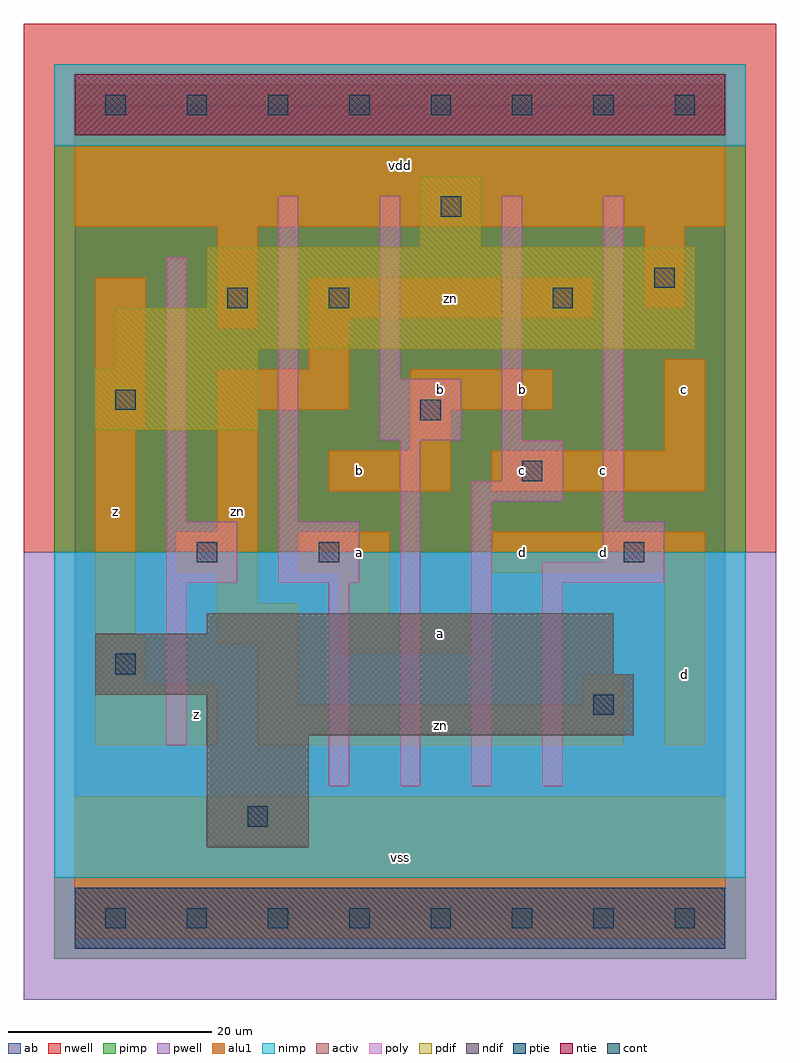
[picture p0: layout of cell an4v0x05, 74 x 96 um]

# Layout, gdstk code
import gdstk
lib = gdstk.Library(unit=1e-6, precision=1e-09)
def R(c, l, rs):  # rectangles x0, y0, x1, y1
    for r in rs: c.add(gdstk.rectangle(r[:2], r[2:], *l))
def A(c, l, x, y, w, h, nx, ny, dx, dy):  # array of equal rectangles
    R(c, l, [(x+i*dx, y+j*dy, x+i*dx+w, y+j*dy+h) for i in range(nx) for j in range(ny)])
ndif = (3, 0)
pdif = (4, 0)
ntie = (5, 0)
ptie = (6, 0)
cont = (25, 0)
pwell = (41, 0)
nwell = (42, 0)
activ = (43, 0)
pimp = (44, 0)
nimp = (45, 0)
poly = (46, 0)
alu1 = (49, 0)
ab = (63, 0)

an4v0x05 = lib.new_cell('an4v0x05')
R(an4v0x05, ndif, [(13,7,23,18), (13,18,55,22), (2,22,55,24), (2,24,53,28), (13,28,53,30)])
R(an4v0x05, pdif, [(2,48,18,54), (4,54,18,56), (4,56,61,60), (13,60,61,66), (34,66,40,73)])
R(an4v0x05, ntie, [(0,77,64,83)])
R(an4v0x05, ptie, [(0,-3,64,3)])
A(an4v0x05, cont, 3, -1, 2, 2, 8, 2, 8, 80)
R(an4v0x05, cont, [(17,9,19,11), (51,20,53,22), (4,24,6,26), (12,35,14,37), (24,35,26,37), (54,35,56,37), (44,43,46,45), (34,49,36,51), (4,50,6,52), (15,60,17,62), (25,60,27,62), (47,60,49,62), (57,62,59,64), (36,69,38,71)])
R(an4v0x05, pwell, [(-5,-8,69,36)])
R(an4v0x05, nwell, [(-5,36,69,88)])
R(an4v0x05, activ, [(0,-3,64,3), (13,7,23,18), (13,18,55,22), (2,22,55,24), (2,24,53,28), (13,28,53,30), (2,48,18,54), (4,54,18,56), (4,56,61,60), (13,60,61,66), (34,66,40,73), (0,77,64,83)])
R(an4v0x05, pimp, [(-2,-4,66,4), (-2,36,66,76)])
R(an4v0x05, nimp, [(-2,4,66,36), (-2,76,66,84)])
R(an4v0x05, poly, [(25,13,27,33), (32,13,34,47), (39,13,41,41), (46,13,48,33), (9,17,11,33), (9,33,16,39), (20,33,28,39), (46,33,58,35), (52,35,58,39), (9,39,11,65), (20,39,22,71), (52,39,54,71), (39,41,48,43), (42,43,48,47), (30,47,38,53), (42,47,44,71), (30,53,32,71)])
R(an4v0x05, alu1, [(0,-2,64,12), (2,17,14,23), (18,17,54,21), (58,17,62,34), (18,21,22,27), (50,21,54,24), (2,23,7,28), (26,26,39,30), (14,27,22,31), (2,28,6,48), (26,30,31,34), (14,31,18,34), (10,34,18,38), (22,34,31,38), (41,34,62,38), (14,38,18,50), (25,42,37,46), (41,42,62,46), (33,46,37,50), (58,46,62,55), (2,48,7,63), (14,50,27,54), (33,50,47,54), (23,54,27,59), (14,58,18,68), (23,59,51,63), (56,60,60,68), (0,68,64,82)])
R(an4v0x05, ab, [(0,0,64,80)])
an4v0x05.add(gdstk.Label('zn', (16,40), layer=49, texttype=0))
an4v0x05.add(gdstk.Label('zn', (36,19), layer=49, texttype=0))
an4v0x05.add(gdstk.Label('zn', (37,61), layer=49, texttype=0))
an4v0x05.add(gdstk.Label('z', (12,20), layer=49, texttype=0))
an4v0x05.add(gdstk.Label('z', (4,40), layer=49, texttype=0))
an4v0x05.add(gdstk.Label('a', (28,36), layer=49, texttype=0))
an4v0x05.add(gdstk.Label('b', (28,44), layer=49, texttype=0))
an4v0x05.add(gdstk.Label('vss', (32,6), layer=49, texttype=0))
an4v0x05.add(gdstk.Label('a', (36,28), layer=49, texttype=0))
an4v0x05.add(gdstk.Label('d', (44,36), layer=49, texttype=0))
an4v0x05.add(gdstk.Label('c', (44,44), layer=49, texttype=0))
an4v0x05.add(gdstk.Label('b', (36,52), layer=49, texttype=0))
an4v0x05.add(gdstk.Label('b', (44,52), layer=49, texttype=0))
an4v0x05.add(gdstk.Label('vdd', (32,74), layer=49, texttype=0))
an4v0x05.add(gdstk.Label('d', (52,36), layer=49, texttype=0))
an4v0x05.add(gdstk.Label('d', (60,24), layer=49, texttype=0))
an4v0x05.add(gdstk.Label('c', (52,44), layer=49, texttype=0))
an4v0x05.add(gdstk.Label('c', (60,52), layer=49, texttype=0))

lib.write_gds('an4v0x05.gds')
